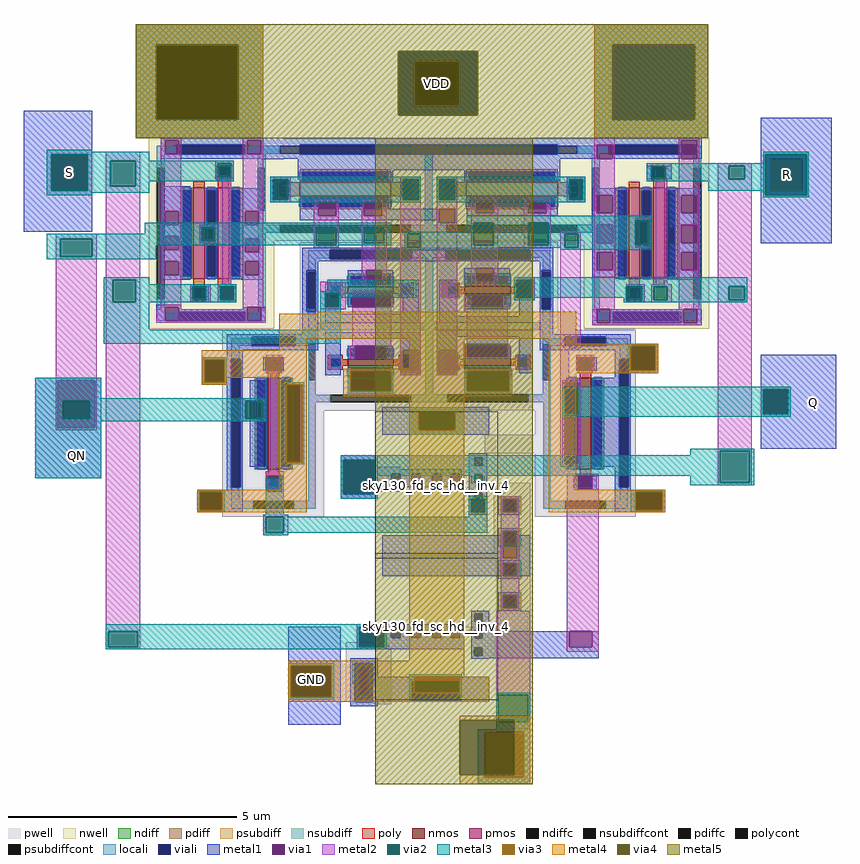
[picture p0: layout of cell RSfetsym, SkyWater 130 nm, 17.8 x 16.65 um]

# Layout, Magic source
magic
tech sky130A
magscale 1 2
<< nwell >>
rect 202 -452 984 -208
rect 380 -870 390 -452
rect 450 -870 470 -850
rect 490 -870 560 -452
rect 860 -560 1260 -470
rect 1740 -550 1990 -480
rect 380 -920 560 -870
rect 380 -930 390 -920
rect 450 -930 470 -920
rect 2290 -930 2390 -900
rect 2400 -920 2460 -860
rect 2480 -930 2490 -860
rect 1600 -1860 1680 -1790
rect 1710 -2030 1870 -1720
rect 1190 -2050 1870 -2030
rect 1721 -2070 1870 -2050
rect 1720 -2280 1870 -2070
rect 1190 -2350 1250 -2340
rect 1721 -2350 1870 -2280
rect 1190 -2370 1870 -2350
<< pwell >>
rect 910 -700 1410 -670
rect 1920 -700 1970 -690
rect 870 -760 1410 -700
rect 870 -1050 940 -760
rect 960 -900 1040 -840
rect 1150 -850 1220 -790
rect 950 -1050 1040 -900
rect 1370 -910 1380 -830
rect 1470 -940 1560 -770
rect 1580 -860 1790 -780
rect 1800 -920 1890 -820
rect 520 -1110 1040 -1050
rect 1910 -1070 1970 -700
rect 520 -1140 530 -1110
rect 540 -1130 610 -1110
rect 540 -1140 890 -1130
rect 930 -1140 940 -1110
rect 1910 -1140 2310 -1070
rect 430 -1260 890 -1140
rect 430 -1290 610 -1260
rect 520 -1870 530 -1290
rect 540 -1850 610 -1290
rect 1050 -1340 1380 -1220
rect 1580 -1340 1790 -1220
rect 1830 -1230 1880 -1220
rect 1670 -1590 1920 -1510
rect 710 -1870 790 -1700
rect 2240 -1850 2310 -1140
rect 1060 -2450 1250 -2420
rect 1060 -2680 1260 -2450
rect 1080 -2690 1260 -2680
rect 1080 -2700 1200 -2690
<< ndiff >>
rect 1150 -850 1220 -790
<< psubdiff >>
rect 1090 -2530 1190 -2500
rect 1090 -2600 1120 -2530
rect 1100 -2650 1120 -2600
rect 1160 -2600 1190 -2530
rect 1160 -2650 1180 -2600
rect 1100 -2680 1180 -2650
<< nsubdiff >>
rect 1730 -1800 1830 -1780
rect 1730 -1840 1760 -1800
rect 1800 -1840 1830 -1800
rect 1730 -1860 1830 -1840
rect 1730 -1940 1830 -1920
rect 1730 -1980 1760 -1940
rect 1800 -1980 1830 -1940
rect 1730 -2000 1830 -1980
rect 1730 -2080 1830 -2060
rect 1730 -2120 1760 -2080
rect 1800 -2120 1830 -2080
rect 1730 -2140 1830 -2120
rect 1730 -2220 1830 -2200
rect 1730 -2260 1760 -2220
rect 1800 -2260 1830 -2220
rect 1730 -2280 1830 -2260
<< psubdiffcont >>
rect 1120 -2650 1160 -2530
<< nsubdiffcont >>
rect 1760 -1840 1800 -1800
rect 1760 -1980 1800 -1940
rect 1760 -2120 1800 -2080
rect 1760 -2260 1800 -2220
<< poly >>
rect 1480 -910 1530 -840
<< locali >>
rect 310 -280 320 -240
rect 620 -280 640 -240
rect 1740 -1800 1820 -1780
rect 1740 -1840 1760 -1800
rect 1800 -1840 1820 -1800
rect 1740 -1860 1820 -1840
rect 1740 -1940 1820 -1920
rect 1740 -1980 1760 -1940
rect 1800 -1980 1820 -1940
rect 1740 -2000 1820 -1980
rect 1740 -2080 1820 -2060
rect 1740 -2120 1760 -2080
rect 1800 -2120 1820 -2080
rect 1740 -2140 1820 -2120
rect 1740 -2220 1820 -2200
rect 1740 -2260 1760 -2220
rect 1800 -2260 1820 -2220
rect 1740 -2280 1820 -2260
rect 1090 -2510 1190 -2500
rect 1090 -2600 1100 -2510
rect 1180 -2600 1190 -2510
<< viali >>
rect 320 -280 620 -240
rect 860 -280 1990 -240
rect 2210 -280 2600 -240
rect 990 -740 1350 -700
rect 1500 -740 1870 -700
rect 890 -970 930 -790
rect 1920 -960 1960 -790
rect 330 -1010 620 -970
rect 2230 -1020 2530 -970
rect 650 -1120 840 -1080
rect 2020 -1120 2200 -1080
rect 560 -1740 600 -1180
rect 1625 -1645 1659 -1611
rect 1260 -1720 1300 -1680
rect 1350 -1720 1390 -1680
rect 1440 -1720 1480 -1680
rect 1520 -1720 1560 -1680
rect 1625 -1719 1659 -1683
rect 2260 -1740 2300 -1180
rect 1625 -1798 1659 -1763
rect 1760 -1840 1800 -1800
rect 1760 -1980 1800 -1940
rect 1760 -2120 1800 -2080
rect 1760 -2260 1800 -2220
rect 1625 -2329 1659 -2294
rect 1260 -2400 1300 -2360
rect 1350 -2400 1390 -2360
rect 1440 -2400 1480 -2360
rect 1520 -2400 1560 -2360
rect 1625 -2402 1659 -2367
rect 1624 -2478 1658 -2443
rect 1100 -2530 1180 -2510
rect 1100 -2650 1120 -2530
rect 1120 -2650 1160 -2530
rect 1160 -2650 1180 -2530
rect 1100 -2680 1180 -2650
<< metal1 >>
rect 1360 110 1560 130
rect 1360 -50 1380 110
rect 1540 -50 1560 110
rect 1360 -70 1560 -50
rect -350 -280 -50 -90
rect 692 -210 786 -208
rect -350 -440 -230 -280
rect -70 -440 -50 -280
rect 250 -220 2620 -210
rect 250 -280 270 -220
rect 330 -240 630 -220
rect 620 -280 630 -240
rect 690 -240 2530 -220
rect 690 -280 860 -240
rect 1990 -280 2160 -240
rect 250 -300 2160 -280
rect 2230 -300 2530 -280
rect 2600 -300 2620 -220
rect 2880 -300 3190 -120
rect 692 -302 786 -300
rect 490 -390 500 -330
rect 560 -390 570 -330
rect 850 -350 2000 -300
rect 730 -390 820 -380
rect 850 -390 1270 -350
rect -350 -620 -50 -440
rect 260 -530 380 -420
rect 260 -590 270 -530
rect 330 -590 380 -530
rect 570 -530 700 -430
rect 730 -480 740 -390
rect 810 -480 820 -390
rect 860 -400 1270 -390
rect 1300 -390 1390 -380
rect 730 -490 820 -480
rect 860 -490 1260 -470
rect 1300 -480 1310 -390
rect 1380 -480 1390 -390
rect 1300 -490 1390 -480
rect 1460 -390 1550 -380
rect 1460 -480 1470 -390
rect 1540 -480 1550 -390
rect 1580 -400 2000 -350
rect 2030 -390 2110 -380
rect 2380 -390 2400 -330
rect 2460 -390 2490 -330
rect 1460 -490 1550 -480
rect 1590 -480 1990 -470
rect 570 -590 620 -530
rect 680 -590 700 -530
rect 860 -550 940 -490
rect 1020 -550 1140 -490
rect 1220 -520 1260 -490
rect 1220 -550 1470 -520
rect 860 -570 1470 -550
rect 1460 -580 1470 -570
rect 1540 -580 1550 -520
rect 1590 -540 1630 -480
rect 1710 -540 1860 -480
rect 1940 -540 1990 -480
rect 2030 -480 2040 -390
rect 2100 -480 2110 -390
rect 2030 -490 2110 -480
rect 2140 -460 2280 -430
rect 1590 -550 1990 -540
rect 2140 -540 2160 -460
rect 2230 -540 2280 -460
rect 260 -640 380 -590
rect 260 -700 270 -640
rect 330 -700 380 -640
rect 420 -600 500 -590
rect 420 -660 430 -600
rect 490 -660 500 -600
rect 420 -670 500 -660
rect 570 -650 700 -590
rect 260 -750 380 -700
rect 260 -810 270 -750
rect 330 -810 380 -750
rect 260 -830 380 -810
rect 570 -710 620 -650
rect 680 -710 700 -650
rect 2140 -590 2280 -540
rect 2480 -460 2620 -430
rect 2480 -540 2530 -460
rect 2600 -540 2620 -460
rect 2140 -670 2160 -590
rect 2230 -670 2280 -590
rect 570 -750 700 -710
rect 570 -810 620 -750
rect 680 -810 700 -750
rect 570 -820 700 -810
rect 600 -830 700 -820
rect 870 -700 1970 -690
rect 870 -740 990 -700
rect 1350 -740 1500 -700
rect 1870 -740 1970 -700
rect 870 -750 1970 -740
rect 870 -790 940 -750
rect 380 -920 390 -860
rect 450 -920 460 -860
rect 380 -930 460 -920
rect 500 -920 510 -860
rect 570 -920 580 -860
rect 500 -930 580 -920
rect 230 -950 340 -940
rect 230 -1010 270 -950
rect 330 -960 340 -950
rect 610 -960 630 -950
rect 330 -970 630 -960
rect 620 -1010 630 -970
rect 690 -1010 710 -950
rect 230 -1020 710 -1010
rect 870 -970 890 -790
rect 930 -970 940 -790
rect 870 -1070 940 -970
rect 970 -890 1040 -840
rect 1070 -850 1150 -790
rect 1220 -850 1270 -790
rect 1070 -860 1270 -850
rect 1030 -950 1040 -890
rect 1070 -950 1090 -890
rect 1260 -950 1270 -890
rect 970 -980 1040 -950
rect 1310 -980 1380 -830
rect 970 -1020 1380 -980
rect 1470 -990 1550 -830
rect 1580 -840 1630 -780
rect 1710 -840 1780 -780
rect 1910 -790 1970 -750
rect 1580 -860 1780 -840
rect 1820 -830 1880 -820
rect 1580 -960 1610 -900
rect 1750 -960 1780 -900
rect 1820 -990 1880 -910
rect 1470 -1020 1880 -990
rect 1910 -960 1920 -790
rect 1960 -960 1970 -790
rect 2140 -710 2280 -670
rect 2330 -570 2400 -560
rect 2390 -680 2400 -570
rect 2480 -590 2620 -540
rect 2480 -600 2530 -590
rect 2500 -670 2530 -600
rect 2600 -670 2620 -590
rect 2880 -440 2920 -300
rect 3060 -440 3190 -300
rect 2880 -670 3190 -440
rect 2330 -690 2400 -680
rect 2140 -790 2160 -710
rect 2230 -790 2280 -710
rect 2140 -820 2280 -790
rect 2480 -710 2620 -670
rect 2480 -790 2530 -710
rect 2600 -790 2620 -710
rect 2480 -820 2620 -790
rect 2510 -830 2620 -820
rect 2290 -920 2300 -860
rect 2360 -920 2370 -860
rect 2290 -930 2370 -920
rect 540 -1080 940 -1070
rect 540 -1120 650 -1080
rect 840 -1120 940 -1080
rect 540 -1140 940 -1120
rect 970 -1090 1390 -1060
rect 540 -1170 610 -1140
rect 430 -1180 610 -1170
rect -300 -1270 -10 -1260
rect -300 -1480 -200 -1270
rect -40 -1480 -10 -1270
rect 430 -1280 440 -1180
rect 530 -1280 560 -1180
rect 430 -1290 560 -1280
rect -300 -1700 -10 -1480
rect 540 -1740 560 -1290
rect 600 -1740 610 -1180
rect 700 -1230 710 -1170
rect 780 -1230 790 -1170
rect 970 -1250 1040 -1090
rect 1070 -1180 1100 -1120
rect 1240 -1180 1270 -1120
rect 1300 -1140 1390 -1090
rect 1070 -1230 1270 -1220
rect 640 -1360 710 -1270
rect 700 -1440 710 -1360
rect 640 -1450 710 -1440
rect 790 -1290 860 -1280
rect 640 -1650 700 -1450
rect 790 -1630 800 -1290
rect 852 -1630 860 -1290
rect 1070 -1320 1080 -1230
rect 1260 -1320 1270 -1230
rect 1300 -1230 1310 -1140
rect 1380 -1230 1390 -1140
rect 1300 -1240 1390 -1230
rect 1460 -1080 1880 -1050
rect 1460 -1140 1550 -1080
rect 1460 -1240 1470 -1140
rect 1540 -1240 1550 -1140
rect 1580 -1170 1590 -1110
rect 1770 -1170 1780 -1110
rect 1460 -1250 1550 -1240
rect 1590 -1230 1780 -1220
rect 1070 -1330 1270 -1320
rect 1820 -1240 1880 -1080
rect 1910 -1070 1970 -960
rect 2140 -1020 2160 -960
rect 2220 -970 2540 -960
rect 2220 -1020 2230 -970
rect 2530 -1020 2540 -970
rect 2600 -1020 2620 -960
rect 2140 -1030 2620 -1020
rect 1910 -1080 2310 -1070
rect 1910 -1120 2020 -1080
rect 2200 -1110 2310 -1080
rect 2200 -1120 2430 -1110
rect 1910 -1140 2310 -1120
rect 2070 -1230 2080 -1170
rect 2140 -1230 2160 -1170
rect 2240 -1180 2310 -1140
rect 2240 -1260 2260 -1180
rect 1590 -1330 1780 -1320
rect 2010 -1280 2090 -1270
rect 1220 -1410 1690 -1390
rect 1220 -1490 1380 -1410
rect 1540 -1490 1690 -1410
rect 1220 -1510 1690 -1490
rect 790 -1640 860 -1630
rect 1040 -1620 1200 -1600
rect 540 -1750 610 -1740
rect 420 -1760 610 -1750
rect 710 -1760 720 -1690
rect 780 -1760 790 -1690
rect 520 -1840 610 -1760
rect 1040 -1770 1050 -1620
rect 1190 -1650 1200 -1620
rect 1600 -1611 1680 -1590
rect 1600 -1645 1625 -1611
rect 1659 -1645 1680 -1611
rect 1190 -1660 1300 -1650
rect 1190 -1680 1570 -1660
rect 1190 -1720 1260 -1680
rect 1300 -1720 1350 -1680
rect 1390 -1720 1440 -1680
rect 1480 -1720 1520 -1680
rect 1560 -1720 1570 -1680
rect 1190 -1740 1570 -1720
rect 1600 -1683 1680 -1645
rect 2010 -1640 2020 -1280
rect 2080 -1640 2090 -1280
rect 2010 -1650 2090 -1640
rect 2150 -1650 2260 -1260
rect 1600 -1719 1625 -1683
rect 1659 -1719 1680 -1683
rect 1190 -1760 1300 -1740
rect 1190 -1770 1200 -1760
rect 1040 -1790 1200 -1770
rect 1600 -1763 1680 -1719
rect 2060 -1750 2080 -1690
rect 2140 -1750 2160 -1690
rect 2240 -1740 2260 -1650
rect 2300 -1230 2310 -1180
rect 2420 -1230 2430 -1120
rect 2300 -1240 2430 -1230
rect 2300 -1740 2310 -1240
rect 2880 -1310 3210 -1160
rect 2880 -1420 2890 -1310
rect 3000 -1420 3210 -1310
rect 2880 -1570 3210 -1420
rect 2240 -1750 2310 -1740
rect 1600 -1790 1625 -1763
rect 1659 -1790 1680 -1763
rect 2240 -1760 2460 -1750
rect 420 -1850 610 -1840
rect 1600 -1850 1610 -1790
rect 1670 -1850 1680 -1790
rect 1600 -1860 1680 -1850
rect 1740 -1790 1820 -1780
rect 1740 -1850 1750 -1790
rect 1810 -1850 1820 -1790
rect 2240 -1840 2330 -1760
rect 2450 -1840 2460 -1760
rect 2240 -1850 2460 -1840
rect 1740 -1860 1820 -1850
rect 1740 -1930 1820 -1920
rect 1740 -1950 1750 -1930
rect 1220 -2050 1750 -1950
rect 1810 -1950 1820 -1930
rect 1810 -2050 1870 -1950
rect 1220 -2070 1870 -2050
rect 1220 -2130 1750 -2070
rect 1810 -2130 1870 -2070
rect 1740 -2140 1820 -2130
rect 1740 -2210 1820 -2200
rect 1740 -2270 1750 -2210
rect 1810 -2270 1820 -2210
rect 1740 -2280 1820 -2270
rect 1610 -2294 1690 -2280
rect 1610 -2329 1625 -2294
rect 1659 -2329 1690 -2294
rect 1110 -2350 1580 -2340
rect 810 -2520 1040 -2350
rect 1110 -2440 1120 -2350
rect 1230 -2360 1580 -2350
rect 1230 -2400 1260 -2360
rect 1300 -2400 1350 -2360
rect 1390 -2400 1440 -2360
rect 1480 -2400 1520 -2360
rect 1560 -2400 1580 -2360
rect 1230 -2440 1580 -2400
rect 1110 -2450 1580 -2440
rect 1610 -2367 1690 -2329
rect 1610 -2402 1625 -2367
rect 1659 -2370 1690 -2367
rect 1659 -2402 2040 -2370
rect 1610 -2440 2040 -2402
rect 2140 -2440 2170 -2370
rect 1610 -2443 2170 -2440
rect 1610 -2478 1624 -2443
rect 1658 -2478 2170 -2443
rect 1610 -2490 2170 -2478
rect 810 -2660 820 -2520
rect 1000 -2660 1040 -2520
rect 810 -2780 1040 -2660
rect 1080 -2510 1200 -2490
rect 1610 -2491 1690 -2490
rect 1080 -2680 1100 -2510
rect 1180 -2570 1200 -2510
rect 1180 -2590 1690 -2570
rect 1180 -2670 1350 -2590
rect 1560 -2670 1690 -2590
rect 1180 -2680 1690 -2670
rect 1080 -2700 1200 -2680
<< via1 >>
rect 1380 -50 1540 110
rect -230 -440 -70 -280
rect 270 -240 330 -220
rect 270 -280 320 -240
rect 320 -280 330 -240
rect 630 -280 690 -220
rect 2530 -240 2600 -220
rect 2160 -280 2210 -240
rect 2210 -280 2230 -240
rect 2530 -280 2600 -240
rect 2160 -300 2230 -280
rect 2530 -300 2600 -280
rect 500 -390 560 -330
rect 270 -590 330 -530
rect 740 -480 810 -390
rect 1310 -480 1380 -390
rect 1470 -480 1540 -390
rect 2400 -390 2460 -330
rect 620 -590 680 -530
rect 940 -550 1020 -490
rect 1140 -550 1220 -490
rect 1470 -580 1540 -520
rect 1630 -540 1710 -480
rect 1860 -540 1940 -480
rect 2040 -480 2100 -390
rect 2160 -540 2230 -460
rect 270 -700 330 -640
rect 430 -660 490 -600
rect 270 -810 330 -750
rect 620 -710 680 -650
rect 2530 -540 2600 -460
rect 2160 -670 2230 -590
rect 620 -810 680 -750
rect 390 -920 450 -860
rect 510 -920 570 -860
rect 270 -1010 330 -950
rect 630 -1010 690 -950
rect 1150 -850 1220 -790
rect 970 -950 1030 -890
rect 1090 -950 1260 -890
rect 1630 -840 1710 -780
rect 1610 -960 1750 -900
rect 1820 -910 1880 -830
rect 2330 -680 2390 -570
rect 2530 -670 2600 -590
rect 2920 -440 3060 -300
rect 2160 -790 2230 -710
rect 2530 -790 2600 -710
rect 2300 -920 2360 -860
rect -200 -1480 -40 -1270
rect 440 -1280 530 -1180
rect 710 -1230 780 -1170
rect 1100 -1180 1240 -1120
rect 640 -1440 700 -1360
rect 800 -1630 852 -1290
rect 1080 -1320 1260 -1230
rect 1310 -1230 1380 -1140
rect 1470 -1240 1540 -1140
rect 1590 -1170 1770 -1110
rect 1590 -1320 1780 -1230
rect 2160 -1020 2220 -960
rect 2540 -1020 2600 -960
rect 2080 -1230 2140 -1170
rect 1380 -1490 1540 -1410
rect 720 -1760 780 -1690
rect 420 -1840 520 -1760
rect 1050 -1770 1190 -1620
rect 2020 -1640 2080 -1280
rect 2080 -1750 2140 -1690
rect 2310 -1230 2420 -1120
rect 2890 -1420 3000 -1310
rect 1610 -1798 1625 -1790
rect 1625 -1798 1659 -1790
rect 1659 -1798 1670 -1790
rect 1610 -1850 1670 -1798
rect 1750 -1800 1810 -1790
rect 1750 -1840 1760 -1800
rect 1760 -1840 1800 -1800
rect 1800 -1840 1810 -1800
rect 1750 -1850 1810 -1840
rect 2330 -1840 2450 -1760
rect 1750 -1940 1810 -1930
rect 1750 -1980 1760 -1940
rect 1760 -1980 1800 -1940
rect 1800 -1980 1810 -1940
rect 1750 -2050 1810 -1980
rect 1750 -2080 1810 -2070
rect 1750 -2120 1760 -2080
rect 1760 -2120 1800 -2080
rect 1800 -2120 1810 -2080
rect 1750 -2130 1810 -2120
rect 1750 -2220 1810 -2210
rect 1750 -2260 1760 -2220
rect 1760 -2260 1800 -2220
rect 1800 -2260 1810 -2220
rect 1750 -2270 1810 -2260
rect 1120 -2440 1230 -2350
rect 2040 -2440 2140 -2370
rect 820 -2660 1000 -2520
rect 1350 -2670 1560 -2590
<< metal2 >>
rect 140 200 700 290
rect 140 -130 230 200
rect 590 -130 700 200
rect 1290 130 1640 170
rect 1290 -70 1360 130
rect 1560 -70 1640 130
rect 1290 -110 1640 -70
rect 140 -210 700 -130
rect 250 -220 340 -210
rect -250 -280 -50 -260
rect -250 -440 -230 -280
rect -70 -440 -50 -280
rect -250 -460 -50 -440
rect 10 -310 160 -270
rect 10 -420 30 -310
rect 140 -420 160 -310
rect -210 -650 -30 -630
rect -210 -730 -190 -650
rect -50 -730 -30 -650
rect -210 -1270 -30 -730
rect -210 -1480 -200 -1270
rect -40 -1480 -30 -1270
rect -210 -1490 -30 -1480
rect 10 -830 160 -420
rect 10 -930 40 -830
rect 140 -930 160 -830
rect 10 -2370 160 -930
rect 250 -280 270 -220
rect 330 -280 340 -220
rect 250 -530 340 -280
rect 610 -220 700 -210
rect 610 -280 630 -220
rect 690 -280 700 -220
rect 490 -320 570 -310
rect 490 -390 500 -320
rect 560 -390 570 -320
rect 500 -400 560 -390
rect 250 -590 270 -530
rect 330 -590 340 -530
rect 250 -640 340 -590
rect 250 -700 270 -640
rect 330 -700 340 -640
rect 420 -600 490 -590
rect 420 -660 430 -600
rect 420 -670 490 -660
rect 250 -750 340 -700
rect 250 -810 270 -750
rect 330 -810 340 -750
rect 250 -950 340 -810
rect 520 -850 560 -400
rect 610 -530 700 -280
rect 2150 -210 2650 290
rect 2150 -240 2240 -210
rect 2150 -300 2160 -240
rect 2230 -300 2240 -240
rect 730 -390 820 -380
rect 730 -480 740 -390
rect 810 -480 820 -390
rect 1300 -390 1390 -380
rect 1300 -480 1310 -390
rect 1380 -480 1390 -390
rect 730 -490 820 -480
rect 920 -490 1030 -480
rect 610 -590 620 -530
rect 680 -590 700 -530
rect 610 -650 700 -590
rect 610 -710 620 -650
rect 680 -710 700 -650
rect 920 -550 940 -490
rect 1020 -550 1030 -490
rect 920 -600 1030 -550
rect 920 -680 930 -600
rect 1020 -680 1030 -600
rect 920 -690 1030 -680
rect 1130 -490 1240 -480
rect 1130 -550 1140 -490
rect 1220 -550 1240 -490
rect 1130 -600 1240 -550
rect 1130 -670 1140 -600
rect 1230 -670 1240 -600
rect 610 -750 700 -710
rect 610 -810 620 -750
rect 680 -810 700 -750
rect 380 -860 470 -850
rect 380 -920 390 -860
rect 450 -920 470 -860
rect 380 -930 470 -920
rect 500 -860 580 -850
rect 500 -920 510 -860
rect 570 -920 580 -860
rect 500 -930 580 -920
rect 250 -960 270 -950
rect 230 -1010 270 -960
rect 330 -960 340 -950
rect 610 -950 700 -810
rect 1130 -790 1240 -670
rect 610 -960 630 -950
rect 330 -1010 630 -960
rect 690 -960 700 -950
rect 950 -890 1060 -840
rect 1130 -850 1150 -790
rect 1220 -850 1240 -790
rect 1300 -630 1390 -480
rect 1300 -690 1330 -630
rect 950 -950 970 -890
rect 1030 -950 1060 -890
rect 950 -960 1060 -950
rect 1090 -890 1270 -880
rect 1260 -950 1270 -890
rect 690 -1010 710 -960
rect 230 -1020 710 -1010
rect 1090 -1120 1260 -950
rect 710 -1170 780 -1160
rect 430 -1180 540 -1170
rect 430 -1280 440 -1180
rect 530 -1280 540 -1180
rect 1080 -1180 1100 -1120
rect 1240 -1180 1260 -1120
rect 1300 -1140 1390 -690
rect 710 -1240 780 -1230
rect 1070 -1230 1270 -1220
rect 430 -1290 540 -1280
rect 610 -1360 700 -1350
rect 610 -1440 620 -1360
rect 610 -1450 700 -1440
rect 730 -1670 760 -1240
rect 790 -1290 860 -1280
rect 790 -1630 800 -1290
rect 1070 -1320 1080 -1230
rect 1260 -1320 1270 -1230
rect 1300 -1230 1310 -1140
rect 1380 -1230 1390 -1140
rect 1300 -1250 1390 -1230
rect 1460 -390 1550 -380
rect 1460 -480 1470 -390
rect 1540 -480 1550 -390
rect 2030 -390 2110 -380
rect 1460 -520 1550 -480
rect 1460 -580 1470 -520
rect 1540 -580 1550 -520
rect 1460 -1140 1550 -580
rect 1610 -480 1730 -470
rect 1610 -540 1630 -480
rect 1710 -540 1730 -480
rect 1610 -580 1730 -540
rect 1610 -680 1620 -580
rect 1710 -680 1730 -580
rect 1610 -780 1730 -680
rect 1840 -480 1960 -470
rect 1840 -540 1860 -480
rect 1940 -540 1960 -480
rect 2030 -480 2040 -390
rect 2100 -480 2110 -390
rect 2030 -490 2110 -480
rect 2150 -460 2240 -300
rect 2520 -220 2610 -210
rect 2520 -300 2530 -220
rect 2600 -300 2610 -220
rect 2380 -330 2490 -320
rect 2380 -390 2400 -330
rect 2460 -390 2490 -330
rect 2410 -400 2470 -390
rect 1840 -580 1960 -540
rect 1840 -680 1860 -580
rect 1950 -680 1960 -580
rect 2150 -540 2160 -460
rect 2230 -540 2240 -460
rect 2150 -590 2240 -540
rect 1840 -690 1960 -680
rect 2000 -630 2090 -620
rect 2000 -690 2020 -630
rect 2080 -690 2090 -630
rect 1610 -840 1630 -780
rect 1710 -840 1730 -780
rect 1610 -850 1730 -840
rect 1800 -830 1890 -820
rect 1580 -960 1610 -900
rect 1750 -960 1770 -900
rect 1800 -910 1810 -830
rect 1880 -910 1890 -830
rect 1800 -920 1890 -910
rect 1580 -970 1770 -960
rect 1590 -1110 1770 -970
rect 1460 -1240 1470 -1140
rect 1540 -1240 1550 -1140
rect 1580 -1170 1590 -1110
rect 1770 -1170 1780 -1110
rect 1580 -1180 1780 -1170
rect 2000 -1130 2090 -690
rect 2150 -670 2160 -590
rect 2230 -670 2240 -590
rect 2150 -710 2240 -670
rect 2330 -570 2390 -560
rect 2330 -690 2390 -680
rect 2150 -790 2160 -710
rect 2230 -790 2240 -710
rect 2150 -960 2240 -790
rect 2420 -850 2470 -400
rect 2520 -460 2610 -300
rect 2890 -280 3090 -270
rect 2520 -540 2530 -460
rect 2600 -540 2610 -460
rect 2520 -590 2610 -540
rect 2520 -670 2530 -590
rect 2600 -670 2610 -590
rect 2520 -710 2610 -670
rect 2520 -790 2530 -710
rect 2600 -790 2610 -710
rect 2290 -860 2370 -850
rect 2360 -920 2370 -860
rect 2290 -930 2370 -920
rect 2400 -860 2490 -850
rect 2400 -920 2410 -860
rect 2470 -920 2490 -860
rect 2400 -930 2490 -920
rect 2520 -960 2610 -790
rect 2690 -330 2840 -320
rect 2690 -390 2740 -330
rect 2810 -390 2840 -330
rect 2690 -860 2840 -390
rect 2890 -460 2900 -280
rect 3080 -460 3090 -280
rect 2890 -470 3090 -460
rect 2690 -920 2740 -860
rect 2810 -920 2840 -860
rect 2140 -1020 2160 -960
rect 2220 -1020 2540 -960
rect 2600 -1020 2620 -960
rect 2140 -1030 2620 -1020
rect 2300 -1120 2430 -1110
rect 1460 -1250 1550 -1240
rect 1580 -1230 1790 -1220
rect 1070 -1330 1270 -1320
rect 1580 -1320 1590 -1230
rect 1780 -1320 1790 -1230
rect 1580 -1330 1790 -1320
rect 2000 -1260 2040 -1130
rect 2070 -1170 2150 -1160
rect 2070 -1230 2080 -1170
rect 2140 -1230 2150 -1170
rect 2300 -1230 2310 -1120
rect 2420 -1230 2430 -1120
rect 2300 -1240 2430 -1230
rect 2000 -1280 2090 -1260
rect 1340 -1410 1580 -1390
rect 1340 -1490 1380 -1410
rect 1540 -1490 1580 -1410
rect 1340 -1510 1580 -1490
rect 790 -1640 860 -1630
rect 1040 -1620 1200 -1600
rect 710 -1690 790 -1670
rect 410 -1760 530 -1750
rect 410 -1840 420 -1760
rect 520 -1840 530 -1760
rect 410 -1850 530 -1840
rect 710 -1760 720 -1690
rect 780 -1760 790 -1690
rect 710 -1860 790 -1760
rect 1040 -1770 1050 -1620
rect 1190 -1770 1200 -1620
rect 2000 -1640 2020 -1280
rect 2080 -1640 2090 -1280
rect 2000 -1650 2090 -1640
rect 2690 -1580 2840 -920
rect 2880 -1310 3010 -1300
rect 2880 -1420 2890 -1310
rect 3000 -1420 3010 -1310
rect 2880 -1430 3010 -1420
rect 1040 -1790 1200 -1770
rect 2030 -1690 2170 -1680
rect 2030 -1750 2080 -1690
rect 2140 -1750 2170 -1690
rect 2690 -1720 2700 -1580
rect 2830 -1720 2840 -1580
rect 2690 -1730 2840 -1720
rect 1740 -1790 1820 -1780
rect 1600 -1850 1610 -1790
rect 1670 -1850 1680 -1790
rect 1600 -1860 1680 -1850
rect 1740 -1850 1750 -1790
rect 1810 -1850 1820 -1790
rect 700 -1870 810 -1860
rect 700 -1940 710 -1870
rect 790 -1940 810 -1870
rect 700 -1950 810 -1940
rect 1740 -1930 1820 -1850
rect 1740 -2050 1750 -1930
rect 1810 -2050 1820 -1930
rect 1740 -2070 1820 -2050
rect 1740 -2130 1750 -2070
rect 1810 -2130 1820 -2070
rect 1740 -2210 1820 -2130
rect 1740 -2270 1750 -2210
rect 1810 -2270 1820 -2210
rect 1740 -2280 1820 -2270
rect 10 -2440 20 -2370
rect 150 -2440 160 -2370
rect 10 -2450 160 -2440
rect 1110 -2350 1240 -2340
rect 1110 -2440 1120 -2350
rect 1230 -2440 1240 -2350
rect 1110 -2450 1240 -2440
rect 810 -2520 1010 -2500
rect 810 -2660 820 -2520
rect 1000 -2660 1010 -2520
rect 810 -2680 1010 -2660
rect 1340 -2590 1570 -2580
rect 1340 -2670 1350 -2590
rect 1560 -2670 1570 -2590
rect 1340 -2680 1570 -2670
rect 1720 -2650 1870 -2280
rect 2030 -2370 2170 -1750
rect 2310 -1760 2460 -1750
rect 2310 -1840 2330 -1760
rect 2450 -1840 2460 -1760
rect 2310 -1850 2460 -1840
rect 2030 -2440 2040 -2370
rect 2140 -2440 2170 -2370
rect 2030 -2460 2170 -2440
rect 1720 -2770 1730 -2650
rect 1860 -2770 1870 -2650
rect 1720 -2800 1870 -2770
<< via2 >>
rect 230 -130 590 200
rect 1360 110 1560 130
rect 1360 -50 1380 110
rect 1380 -50 1540 110
rect 1540 -50 1560 110
rect 1360 -70 1560 -50
rect -230 -440 -70 -280
rect 30 -420 140 -310
rect -190 -730 -50 -650
rect -180 -1440 -60 -1360
rect 40 -930 140 -830
rect 500 -330 560 -320
rect 500 -380 560 -330
rect 430 -660 490 -600
rect 740 -480 810 -390
rect 1310 -480 1380 -390
rect 930 -680 1020 -600
rect 1140 -670 1230 -600
rect 390 -920 450 -860
rect 510 -920 570 -860
rect 1330 -690 1390 -630
rect 970 -950 1030 -890
rect 440 -1280 530 -1180
rect 620 -1440 640 -1360
rect 640 -1440 700 -1360
rect 800 -1630 852 -1290
rect 852 -1630 860 -1290
rect 1080 -1320 1260 -1230
rect 1470 -480 1540 -390
rect 1620 -680 1710 -580
rect 2040 -480 2100 -390
rect 2400 -390 2460 -330
rect 1860 -680 1950 -580
rect 2020 -690 2080 -630
rect 1810 -910 1820 -830
rect 1820 -910 1880 -830
rect 2330 -680 2390 -570
rect 2290 -920 2300 -860
rect 2300 -920 2360 -860
rect 2410 -920 2470 -860
rect 2740 -390 2810 -330
rect 2900 -300 3080 -280
rect 2900 -440 2920 -300
rect 2920 -440 3060 -300
rect 3060 -440 3080 -300
rect 2900 -460 3080 -440
rect 2740 -920 2810 -860
rect 1590 -1320 1780 -1230
rect 2310 -1230 2420 -1120
rect 1380 -1490 1540 -1410
rect 420 -1840 520 -1760
rect 1050 -1770 1190 -1620
rect 2020 -1420 2080 -1310
rect 2890 -1420 3000 -1310
rect 2700 -1720 2830 -1580
rect 1610 -1850 1670 -1790
rect 710 -1940 790 -1870
rect 20 -2440 150 -2370
rect 1120 -2440 1230 -2350
rect 820 -2660 1000 -2520
rect 1350 -2670 1560 -2590
rect 2330 -1840 2450 -1760
rect 1730 -2770 1860 -2650
<< metal3 >>
rect 140 200 700 290
rect 140 -130 230 200
rect 590 -130 700 200
rect 1290 130 1640 170
rect 1290 -70 1360 130
rect 1560 -70 1640 130
rect 1290 -110 1640 -70
rect 140 -210 700 -130
rect 2150 -210 2650 290
rect -250 -270 -50 -260
rect -250 -280 200 -270
rect -250 -440 -230 -280
rect -70 -310 200 -280
rect 2890 -280 3090 -270
rect -70 -420 30 -310
rect 140 -320 570 -310
rect 2890 -320 2900 -280
rect 140 -380 500 -320
rect 560 -380 570 -320
rect 2380 -330 2900 -320
rect 140 -400 570 -380
rect 730 -390 1390 -380
rect 140 -420 200 -400
rect -70 -440 200 -420
rect -250 -450 200 -440
rect -250 -460 -50 -450
rect 730 -480 740 -390
rect 810 -480 1310 -390
rect 1380 -480 1390 -390
rect 730 -490 1390 -480
rect 1460 -390 2110 -380
rect 1460 -480 1470 -390
rect 1540 -480 2040 -390
rect 2100 -480 2110 -390
rect 2380 -390 2400 -330
rect 2460 -390 2740 -330
rect 2810 -390 2900 -330
rect 2380 -400 2900 -390
rect 2650 -440 2900 -400
rect 2890 -460 2900 -440
rect 3080 -460 3090 -280
rect 2890 -470 3090 -460
rect 1460 -490 2110 -480
rect 1590 -570 2400 -550
rect 1590 -580 2330 -570
rect 180 -600 1260 -580
rect 180 -630 430 -600
rect -250 -650 430 -630
rect -250 -730 -190 -650
rect -50 -660 430 -650
rect 490 -660 930 -600
rect -50 -680 930 -660
rect 1020 -670 1140 -600
rect 1230 -670 1260 -600
rect 1590 -620 1620 -580
rect 1020 -680 1260 -670
rect 1320 -630 1620 -620
rect -50 -730 230 -680
rect 920 -690 1030 -680
rect 1320 -690 1330 -630
rect 1390 -680 1620 -630
rect 1710 -680 1860 -580
rect 1950 -630 2330 -580
rect 1950 -680 2020 -630
rect 1390 -690 2020 -680
rect 2080 -680 2330 -630
rect 2390 -680 2400 -570
rect 2080 -690 2400 -680
rect 1320 -700 1730 -690
rect 2000 -700 2400 -690
rect -250 -740 230 -730
rect 0 -830 200 -820
rect 1800 -830 2820 -820
rect 0 -930 40 -830
rect 140 -850 200 -830
rect 140 -860 580 -850
rect 140 -920 390 -860
rect 450 -920 510 -860
rect 570 -920 580 -860
rect 980 -880 1370 -830
rect 140 -930 580 -920
rect 950 -890 1370 -880
rect 0 -1050 200 -930
rect 950 -950 970 -890
rect 1030 -910 1370 -890
rect 1800 -910 1810 -830
rect 1880 -860 2820 -830
rect 1880 -910 2290 -860
rect 1030 -950 1040 -910
rect 1800 -920 1890 -910
rect 2280 -920 2290 -910
rect 2360 -920 2410 -860
rect 2470 -920 2740 -860
rect 2810 -920 2820 -860
rect 2280 -930 2820 -920
rect 950 -1050 1040 -950
rect 0 -1110 1040 -1050
rect 2300 -1120 2430 -1110
rect 430 -1180 540 -1170
rect -300 -1350 -10 -1260
rect 430 -1280 440 -1180
rect 530 -1280 540 -1180
rect 1070 -1230 1270 -1220
rect 430 -1290 540 -1280
rect 790 -1290 880 -1280
rect -300 -1360 710 -1350
rect -300 -1440 -180 -1360
rect -60 -1440 620 -1360
rect 700 -1440 710 -1360
rect -300 -1450 710 -1440
rect -300 -1700 -10 -1450
rect 790 -1630 800 -1290
rect 870 -1630 880 -1290
rect 1070 -1320 1080 -1230
rect 1260 -1320 1270 -1230
rect 1070 -1330 1270 -1320
rect 1580 -1230 1790 -1220
rect 1580 -1320 1590 -1230
rect 1780 -1320 1790 -1230
rect 2300 -1230 2310 -1120
rect 2420 -1230 2430 -1120
rect 2300 -1240 2430 -1230
rect 1580 -1330 1790 -1320
rect 2010 -1310 3010 -1300
rect 1340 -1410 1580 -1390
rect 1340 -1490 1380 -1410
rect 1540 -1490 1580 -1410
rect 2010 -1420 2020 -1310
rect 2080 -1420 2890 -1310
rect 3000 -1420 3010 -1310
rect 2010 -1430 3010 -1420
rect 1340 -1510 1580 -1490
rect 2570 -1580 2850 -1570
rect 2570 -1600 2700 -1580
rect 790 -1640 880 -1630
rect 1040 -1620 2700 -1600
rect 410 -1760 530 -1750
rect 410 -1840 420 -1760
rect 520 -1840 530 -1760
rect 410 -1850 530 -1840
rect 710 -1860 790 -1700
rect 1040 -1770 1050 -1620
rect 1190 -1690 2700 -1620
rect 1190 -1770 1200 -1690
rect 1610 -1720 1670 -1690
rect 2570 -1720 2700 -1690
rect 2830 -1720 2850 -1580
rect 2570 -1730 2850 -1720
rect 1040 -1790 1200 -1770
rect 2310 -1760 2460 -1750
rect 1600 -1790 1680 -1780
rect 1600 -1850 1610 -1790
rect 1670 -1850 1680 -1790
rect 2310 -1840 2330 -1760
rect 2450 -1840 2460 -1760
rect 2310 -1850 2460 -1840
rect 700 -1870 810 -1860
rect 1600 -1870 1680 -1850
rect 700 -1940 710 -1870
rect 790 -1940 1680 -1870
rect 700 -1950 810 -1940
rect 10 -2350 1240 -2340
rect 10 -2370 1120 -2350
rect 10 -2440 20 -2370
rect 150 -2440 1120 -2370
rect 1230 -2440 1240 -2350
rect 10 -2450 1240 -2440
rect 810 -2520 1010 -2510
rect 810 -2660 820 -2520
rect 1000 -2660 1010 -2520
rect 810 -2670 1010 -2660
rect 1340 -2570 1570 -2560
rect 1340 -2590 1360 -2570
rect 1340 -2670 1350 -2590
rect 1560 -2670 1570 -2570
rect 1340 -2680 1570 -2670
rect 1720 -2650 1870 -2640
rect 1720 -2770 1730 -2650
rect 1860 -2770 1870 -2650
rect 1720 -2800 1870 -2770
rect 1640 -2810 1870 -2800
rect 1640 -3010 1670 -2810
rect 1840 -3010 1870 -2810
rect 1640 -3040 1870 -3010
<< via3 >>
rect 230 -130 590 200
rect 1360 -70 1560 130
rect 440 -1280 530 -1180
rect 800 -1630 860 -1290
rect 860 -1630 870 -1290
rect 1080 -1320 1260 -1230
rect 1590 -1320 1780 -1230
rect 2310 -1230 2420 -1120
rect 1380 -1490 1540 -1410
rect 420 -1840 520 -1760
rect 2330 -1840 2450 -1760
rect 820 -2660 1000 -2520
rect 1360 -2590 1560 -2570
rect 1360 -2640 1560 -2590
rect 1670 -3010 1840 -2810
<< metal4 >>
rect 140 200 700 290
rect 140 -130 230 200
rect 590 -130 700 200
rect 2150 200 2650 290
rect 140 -210 700 -130
rect 2150 -130 2230 200
rect 2590 -130 2650 200
rect 2150 -210 2650 -130
rect 940 -980 2070 -970
rect 770 -1090 2070 -980
rect 770 -1140 890 -1090
rect 430 -1180 890 -1140
rect 430 -1280 440 -1180
rect 530 -1260 890 -1180
rect 1340 -1220 1580 -1090
rect 1950 -1110 2070 -1090
rect 1950 -1120 2430 -1110
rect 530 -1280 540 -1260
rect 430 -1290 540 -1280
rect 770 -1290 890 -1260
rect 770 -1630 800 -1290
rect 870 -1630 890 -1290
rect 1050 -1230 1790 -1220
rect 1050 -1320 1080 -1230
rect 1260 -1320 1590 -1230
rect 1780 -1320 1790 -1230
rect 1050 -1340 1790 -1320
rect 1950 -1230 2310 -1120
rect 2420 -1230 2430 -1120
rect 1950 -1240 2430 -1230
rect 770 -1750 890 -1630
rect 410 -1760 890 -1750
rect 410 -1840 420 -1760
rect 520 -1840 890 -1760
rect 410 -1850 890 -1840
rect 1340 -1410 1580 -1340
rect 1340 -1490 1380 -1410
rect 1540 -1490 1580 -1410
rect 1340 -2500 1580 -1490
rect 1950 -1750 2070 -1240
rect 1950 -1760 2460 -1750
rect 1950 -1840 2330 -1760
rect 2450 -1840 2460 -1760
rect 1950 -1850 2460 -1840
rect 810 -2520 1580 -2500
rect 810 -2660 820 -2520
rect 1000 -2570 1580 -2520
rect 1000 -2640 1360 -2570
rect 1560 -2640 1690 -2570
rect 1000 -2660 1690 -2640
rect 810 -2680 1690 -2660
rect 1560 -2760 1870 -2740
rect 1800 -2810 1870 -2760
rect 1560 -3010 1670 -3000
rect 1840 -3010 1870 -2810
rect 1560 -3040 1870 -3010
<< via4 >>
rect 230 -130 590 200
rect 1290 130 1640 170
rect 1290 -70 1360 130
rect 1360 -70 1560 130
rect 1560 -70 1640 130
rect 1290 -110 1640 -70
rect 2230 -130 2590 200
rect 1560 -2810 1800 -2760
rect 1560 -3000 1670 -2810
rect 1670 -3000 1800 -2810
<< metal5 >>
rect 140 200 2650 290
rect 140 -130 230 200
rect 590 170 2230 200
rect 590 -110 1290 170
rect 1640 -110 2230 170
rect 590 -130 2230 -110
rect 2590 -130 2650 200
rect 140 -210 2650 -130
rect 1190 -2760 1880 -210
rect 1190 -3000 1560 -2760
rect 1800 -3000 1880 -2760
rect 1190 -3040 1880 -3000
use sky130_fd_sc_hd__inv_4  x1 pdks/sky130A/libs.ref/sky130_fd_sc_hd/mag
transform 1 0 1228 0 -1 -1458
box -38 -48 498 592
use sky130_fd_sc_hd__inv_4  x2
transform 1 0 1228 0 1 -2622
box -38 -48 498 592
use sky130_fd_pr__nfet_01v8_8X7CJE  XM1
transform 0 1 1170 -1 0 -877
box -211 -310 211 310
use sky130_fd_pr__nfet_01v8_ENQT6S  XM2
transform 0 1 1170 -1 0 -1193
box -211 -310 211 310
use sky130_fd_pr__nfet_01v8_CBNSG2  XM3
transform 0 1 1683 -1 0 -876
box -211 -310 211 310
use sky130_fd_pr__nfet_01v8_GNLSML  XM4
transform 0 1 1683 -1 0 -1192
box -211 -310 211 310
use sky130_fd_pr__pfet_01v8_K7FRP5  XM5
transform 0 1 1059 -1 0 -434
box -226 -419 226 419
use sky130_fd_pr__pfet_01v8_GHY9W9  XM6
transform 0 1 1789 -1 0 -434
box -226 -419 226 419
use sky130_fd_pr__pfet_01v8_E3L9V7  XM7
transform 1 0 472 0 1 -627
box -275 -419 275 419
use sky130_fd_pr__pfet_01v8_EDASV7  XM8
transform 1 0 2379 0 1 -627
box -275 -419 275 419
use sky130_fd_pr__nfet_01v8_4WSMTB  XM9
transform 1 0 745 0 1 -1460
box -221 -410 221 410
use sky130_fd_pr__nfet_01v8_XJSMYS  XM10
transform 1 0 2111 0 1 -1460
box -221 -410 221 410
<< labels >>
flabel metal1 1360 -70 1560 130 0 FreeSans 256 0 0 0 VDD
port 0 nsew
flabel metal1 810 -2680 1010 -2480 0 FreeSans 256 0 0 0 GND
port 5 nsew
flabel metal1 2890 -470 3090 -270 0 FreeSans 256 0 0 0 R
port 2 nsew
flabel metal1 -250 -460 -50 -260 0 FreeSans 256 0 0 0 S
port 1 nsew
flabel metal1 3010 -1470 3210 -1270 0 FreeSans 256 0 0 0 Q
port 3 nsew
flabel metal1 -220 -1700 -20 -1500 0 FreeSans 256 0 0 0 QN
port 4 nsew
<< end >>

# cell sky130_fd_pr__nfet_01v8_8X7CJE: kit device sky130_fd_pr__nfet_01v8, w 1.0 l 0.15 m 1 nf 1 diffcov 100 polycov 100 guard 1 glc 1 grc 0 gtc 0 gbc 1 tbcov 100 rlcov 100 topc 1 botc 1 poverlap 0 doverlap 1 lmin 0.15 wmin 0.42 compatible {sky130_fd_pr__nfet_01v8 sky130_fd_pr__nfet_01v8_lvt sky130_fd_bs_flash__special_sonosfet_star sky130_fd_pr__nfet_g5v0d10v5 sky130_fd_pr__nfet_05v0_nvt sky130_fd_pr__nfet_03v3_nvt} full_metal 1 viasrc 100 viadrn 100 viagate 100 viagb 0 viagr 0 viagl 0 viagt 0

# cell sky130_fd_pr__nfet_01v8_ENQT6S: kit device sky130_fd_pr__nfet_01v8, w 1.0 l 0.150 m 1 nf 1 diffcov 100 polycov 100 guard 1 glc 0 grc 1 gtc 0 gbc 1 tbcov 100 rlcov 100 topc 1 botc 1 poverlap 0 doverlap 1 lmin 0.15 wmin 0.42 compatible {sky130_fd_pr__nfet_01v8 sky130_fd_pr__nfet_01v8_lvt sky130_fd_bs_flash__special_sonosfet_star sky130_fd_pr__nfet_g5v0d10v5 sky130_fd_pr__nfet_05v0_nvt sky130_fd_pr__nfet_03v3_nvt} full_metal 1 viasrc 100 viadrn 100 viagate 100 viagb 0 viagr 0 viagl 0 viagt 0

# cell sky130_fd_pr__nfet_01v8_CBNSG2: kit device sky130_fd_pr__nfet_01v8, w 1.0 l 0.150 m 1 nf 1 diffcov 100 polycov 100 guard 1 glc 1 grc 0 gtc 1 gbc 0 tbcov 100 rlcov 100 topc 1 botc 1 poverlap 0 doverlap 1 lmin 0.15 wmin 0.42 compatible {sky130_fd_pr__nfet_01v8 sky130_fd_pr__nfet_01v8_lvt sky130_fd_bs_flash__special_sonosfet_star sky130_fd_pr__nfet_g5v0d10v5 sky130_fd_pr__nfet_05v0_nvt sky130_fd_pr__nfet_03v3_nvt} full_metal 1 viasrc 100 viadrn 100 viagate 100 viagb 0 viagr 0 viagl 0 viagt 0

# cell sky130_fd_pr__nfet_01v8_GNLSML: kit device sky130_fd_pr__nfet_01v8, w 1.0 l 0.150 m 1 nf 1 diffcov 100 polycov 100 guard 1 glc 0 grc 1 gtc 1 gbc 0 tbcov 100 rlcov 100 topc 1 botc 1 poverlap 0 doverlap 1 lmin 0.15 wmin 0.42 compatible {sky130_fd_pr__nfet_01v8 sky130_fd_pr__nfet_01v8_lvt sky130_fd_bs_flash__special_sonosfet_star sky130_fd_pr__nfet_g5v0d10v5 sky130_fd_pr__nfet_05v0_nvt sky130_fd_pr__nfet_03v3_nvt} full_metal 1 viasrc 100 viadrn 100 viagate 100 viagb 0 viagr 0 viagl 0 viagt 0

# cell sky130_fd_pr__pfet_01v8_K7FRP5: kit device sky130_fd_pr__pfet_01v8, w 2. l 0.3 m 1 nf 1 diffcov 100 polycov 100 guard 1 glc 1 grc 1 gtc 0 gbc 1 tbcov 100 rlcov 100 topc 1 botc 1 poverlap 0 doverlap 1 lmin 0.15 wmin 0.42 compatible {sky130_fd_pr__pfet_01v8 sky130_fd_pr__pfet_01v8_lvt sky130_fd_pr__pfet_01v8_hvt sky130_fd_pr__pfet_g5v0d10v5} full_metal 1 viasrc 100 viadrn 100 viagate 100 viagb 0 viagr 0 viagl 0 viagt 0

# cell sky130_fd_pr__pfet_01v8_GHY9W9: kit device sky130_fd_pr__pfet_01v8, w 2.0 l 0.3 m 1 nf 1 diffcov 100 polycov 100 guard 1 glc 1 grc 1 gtc 1 gbc 0 tbcov 100 rlcov 100 topc 1 botc 1 poverlap 0 doverlap 1 lmin 0.15 wmin 0.42 compatible {sky130_fd_pr__pfet_01v8 sky130_fd_pr__pfet_01v8_lvt sky130_fd_pr__pfet_01v8_hvt sky130_fd_pr__pfet_g5v0d10v5} full_metal 1 viasrc 100 viadrn 100 viagate 100 viagb 0 viagr 0 viagl 0 viagt 0

# cell sky130_fd_pr__pfet_01v8_E3L9V7: kit device sky130_fd_pr__pfet_01v8, w 2.0 l 0.25 m 1 nf 2 diffcov 100 polycov 100 guard 1 glc 1 grc 0 gtc 1 gbc 1 tbcov 100 rlcov 100 topc 1 botc 1 poverlap 0 doverlap 1 lmin 0.15 wmin 0.42 compatible {sky130_fd_pr__pfet_01v8 sky130_fd_pr__pfet_01v8_lvt sky130_fd_pr__pfet_01v8_hvt sky130_fd_pr__pfet_g5v0d10v5} full_metal 1 viasrc 100 viadrn 100 viagate 100 viagb 0 viagr 0 viagl 0 viagt 0

# cell sky130_fd_pr__pfet_01v8_EDASV7: kit device sky130_fd_pr__pfet_01v8, w 2.0 l 0.25 m 1 nf 2 diffcov 100 polycov 100 guard 1 glc 0 grc 1 gtc 1 gbc 1 tbcov 100 rlcov 100 topc 1 botc 1 poverlap 0 doverlap 1 lmin 0.15 wmin 0.42 compatible {sky130_fd_pr__pfet_01v8 sky130_fd_pr__pfet_01v8_lvt sky130_fd_pr__pfet_01v8_hvt sky130_fd_pr__pfet_g5v0d10v5} full_metal 1 viasrc 100 viadrn 100 viagate 100 viagb 0 viagr 0 viagl 0 viagt 0

# cell sky130_fd_pr__nfet_01v8_4WSMTB: kit device sky130_fd_pr__nfet_01v8, w 2.0 l 0.25 m 1 nf 1 diffcov 100 polycov 100 guard 1 glc 1 grc 0 gtc 1 gbc 1 tbcov 100 rlcov 100 topc 1 botc 1 poverlap 0 doverlap 1 lmin 0.15 wmin 0.42 compatible {sky130_fd_pr__nfet_01v8 sky130_fd_pr__nfet_01v8_lvt sky130_fd_bs_flash__special_sonosfet_star sky130_fd_pr__nfet_g5v0d10v5 sky130_fd_pr__nfet_05v0_nvt sky130_fd_pr__nfet_03v3_nvt} full_metal 1 viasrc 100 viadrn 100 viagate 100 viagb 0 viagr 0 viagl 0 viagt 0

# cell sky130_fd_pr__nfet_01v8_XJSMYS: kit device sky130_fd_pr__nfet_01v8, w 2.0 l 0.25 m 1 nf 1 diffcov 100 polycov 100 guard 1 glc 0 grc 1 gtc 1 gbc 1 tbcov 100 rlcov 100 topc 1 botc 1 poverlap 0 doverlap 1 lmin 0.15 wmin 0.42 compatible {sky130_fd_pr__nfet_01v8 sky130_fd_pr__nfet_01v8_lvt sky130_fd_bs_flash__special_sonosfet_star sky130_fd_pr__nfet_g5v0d10v5 sky130_fd_pr__nfet_05v0_nvt sky130_fd_pr__nfet_03v3_nvt} full_metal 1 viasrc 100 viadrn 100 viagate 100 viagb 0 viagr 0 viagl 0 viagt 0
